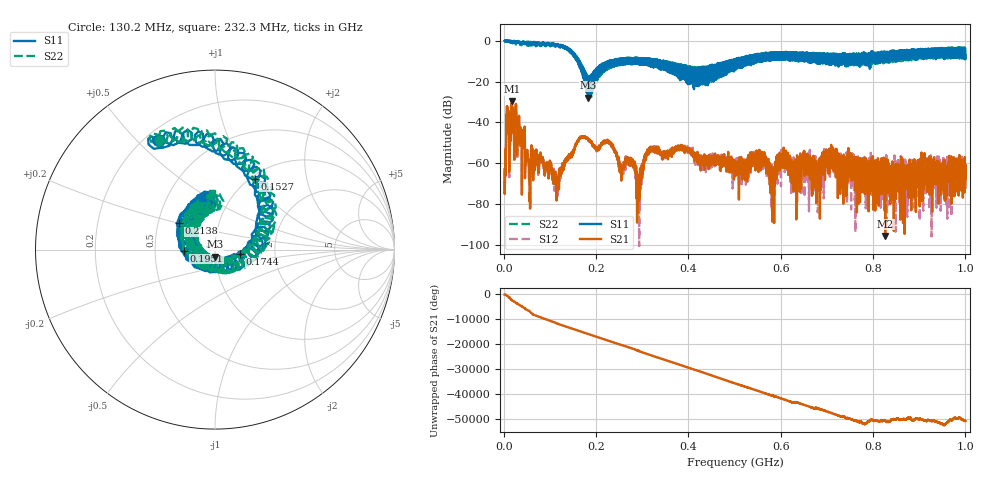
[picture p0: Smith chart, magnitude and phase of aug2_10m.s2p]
!Keysight Technologies N9923A: A.12.45
!Date: Saturday, 02 August 2025 18:46:54
!Timezone: (UTC+08:00) Kuala Lumpur, Singapore
!Model: N9923A
!Serial: MY61181427
!GPS Latitude:
!GPS Longitude:
!GPS TimeStamp: 0001-01-01 00:00:00Z
!GPS Seconds Since Last Read: 0
!CHECKSUM:0987685620
!Correction: S11(ON U)S21(ON U)S12(ON U)S22(ON U)
!S2P File: Measurements:S11,S21,S12,S22:
# Hz S DB R 50
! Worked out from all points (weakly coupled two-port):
!   4001 points, 2 MHz to 1 GHz, reference 50 ohm
!   highest |S21| = -29.70 dB at 17.72 MHz (marker M1); lowest = -95.6 dB at 826.3 MHz (marker M2)
!   lowest |S11| = -27.9 dB at 182.9 MHz (marker M3), VSWR 1.08, Z = 49.8 - j4.01 ohm
!   |S11| at or under -10 dB: 162.6 MHz to 228.5 MHz (65.9 MHz wide, 33.7 % of centre); 228.8 MHz to 230.1 MHz (1.347 MHz wide, 0.587 % of centre); 347.8 MHz to 484.8 MHz (137 MHz wide, 32.9 % of centre) (the widest 3 of 223)
!   |S22| runs from -28.9 to 0.1 dB; largest |S21 - S12| = 0.0033
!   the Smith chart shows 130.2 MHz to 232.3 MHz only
!   S11 on the Smith chart (normalised r, x): 130.2 MHz: 0.24, +0.57; 152.7 MHz: 1.04, +1.04; 174.4 MHz: 1.32, -0.07; 195.1 MHz: 0.71, -0.01; 213.8 MHz: 0.64, +0.20; 232.3 MHz: 0.74, +0.47
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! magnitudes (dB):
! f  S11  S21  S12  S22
! 2 MHz  -0.1  -62.9  -63.0  -0.1
! 9.984 MHz  0.0  -39.6  -39.6  0.0
! 17.72 MHz  -0.9  -29.7  -29.8  -1.1
! 53.65 MHz  -0.5  -57.9  -58.2  -1.1
! 82.09 MHz  -1.5  -58.7  -58.5  -1.1
! 114.8 MHz  -2.5  -69.4  -69.9  -2.5
! 130.2 MHz  -3.2  -61.2  -60.8  -3.3
! 152.7 MHz  -6.9  -53.7  -53.1  -6.4
! 168.4 MHz  -14.1  -47.4  -47.2  -14.5
! 174.4 MHz  -17.0  -47.3  -47.6  -15.1
! 182.9 MHz  -27.9  -48.4  -48.3  -23.2
! 195.1 MHz  -15.3  -51.1  -51.8  -16.9
! 213.8 MHz  -12.1  -50.5  -50.0  -11.8
! 232.3 MHz  -10.5  -51.1  -50.7  -10.0
! 292.4 MHz  -8.6  -69.7  -79.9  -8.9
! 309.4 MHz  -9.2  -55.7  -56.2  -8.7
! 334.8 MHz  -11.8  -51.8  -52.3  -9.9
! 501 MHz  -12.2  -60.7  -60.6  -12.8
! 667.4 MHz  -7.0  -61.0  -70.8  -9.8
! 826.3 MHz  -8.5  -95.6  -69.6  -6.9
! 833.8 MHz  -6.9  -59.9  -69.0  -7.7
! 1 GHz  -7.2  -71.9  -69.0  -3.3
